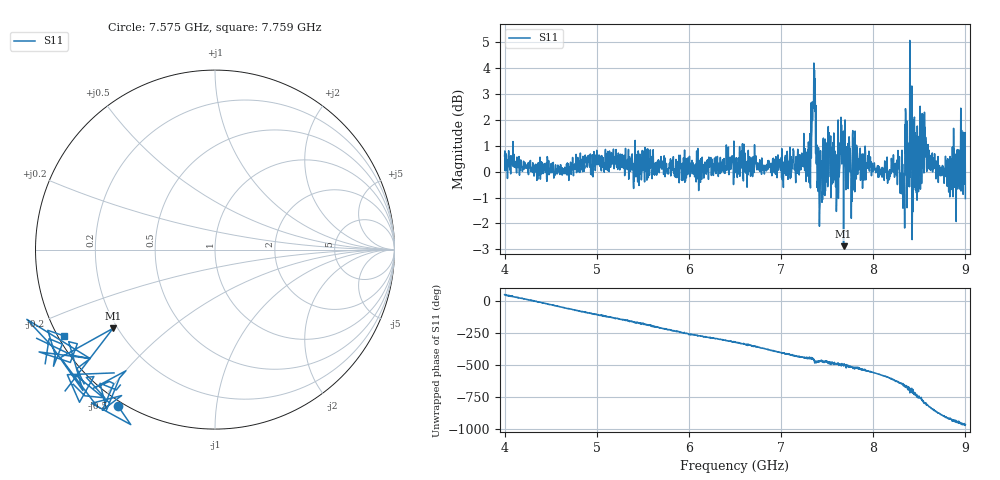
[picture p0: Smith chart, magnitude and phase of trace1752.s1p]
! Created with skrf 1.8.0 (http://scikit-rf.org).
# Hz S RI R 50.0
!freq ReS11 ImS11
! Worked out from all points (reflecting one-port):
!   1601 points, 4 GHz to 9 GHz, reference 50 ohm
!   lowest |S11| = -2.9 dB at 7.678 GHz (marker M1), VSWR 6.09, Z = 9.14 - j16.5 ohm
!   phase of S11 starts at 53 deg and turns -1015 deg over the sweep
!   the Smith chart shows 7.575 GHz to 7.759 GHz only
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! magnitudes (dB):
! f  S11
! 4 GHz  0.6
! 4.625 GHz  -0.1
! 5.25 GHz  0.1
! 5.875 GHz  0.3
! 6.5 GHz  0.1
! 7.125 GHz  0.4
! 7.294 GHz  0.2
! 7.328 GHz  0.5
! 7.347 GHz  2.6
! 7.369 GHz  3.6
! 7.4 GHz  0.0
! 7.428 GHz  0.8
! 7.512 GHz  1.7
! 7.609 GHz  -0.2
! 7.65 GHz  2.1
! 7.678 GHz  -2.9
! 7.75 GHz  0.9
! 8.259 GHz  0.3
! 8.316 GHz  -0.3
! 8.375 GHz  0.0
! 8.447 GHz  2.1
! 8.459 GHz  -0.7
! 8.481 GHz  1.0
! 8.556 GHz  2.3
! 8.603 GHz  0.8
! 8.841 GHz  0.5
! 8.972 GHz  0.4
! 9 GHz  -1.0
